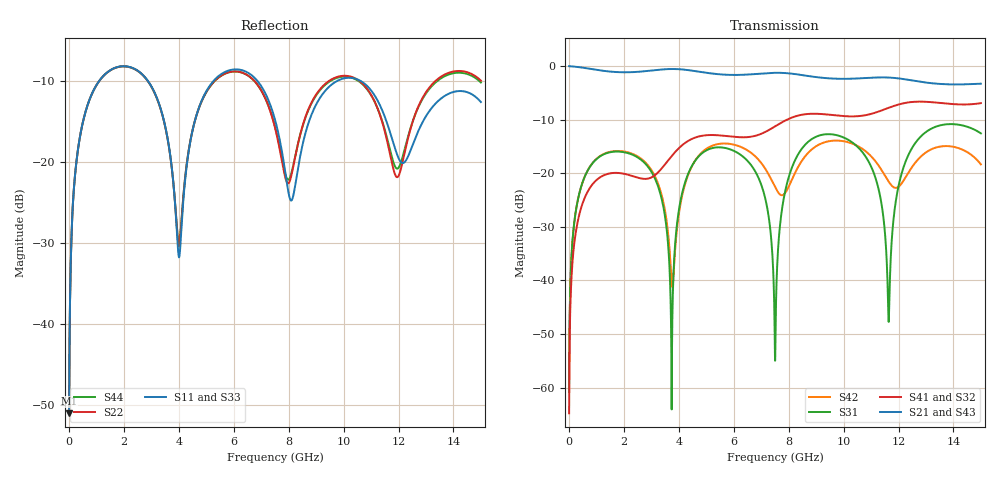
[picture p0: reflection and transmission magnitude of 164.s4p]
! Created with skrf 1.8.0 (http://scikit-rf.org).
# GHz S RI R 50.0
!freq ReS11 ImS11 ReS12 ImS12 ReS13 ImS13
! ReS14 ImS14
! ReS21 ImS21 ReS22 ImS22 ReS23 ImS23
! ReS24 ImS24
! ReS31 ImS31 ReS32 ImS32 ReS33 ImS33
! ReS34 ImS34
! ReS41 ImS41 ReS42 ImS42 ReS43 ImS43
! ReS44 ImS44
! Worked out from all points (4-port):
!   2499 points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, 5 MHz to 15 GHz, reference 50 ohm
!   strongest paths, dB at 5 MHz, 3.476 GHz, 7.19 GHz, 11.1 GHz, 15 GHz:
!     S21: 0.0, -0.6, -1.3, -2.2, -3.3
!     S43: 0.0, -0.6, -1.3, -2.2, -3.3
!     S41: -64.8, -18.5, -12.2, -8.8, -6.9
!     S32: -64.8, -18.5, -12.2, -8.8, -7.0
!     S31: -60.8, -27.4, -25.7, -19.9, -12.6
!     S42: -60.8, -26.4, -19.5, -17.4, -18.4
!   lowest |S11| = -51.1 dB at 5 MHz (marker M1), VSWR 1.01, Z = 50.2 + j0.17 ohm
!   |S11| at or under -10 dB: 2.88 GHz to 5.259 GHz (2.379 GHz wide, 58.5 % of centre); 6.867 GHz to 9.754 GHz (2.886 GHz wide, 34.7 % of centre); 10.63 GHz to end of sweep (the widest 3 of 4)
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0.005  0.00223 0.00169  0.9977 -0.00434  0.000115 0.000902  -0.000111 -0.000564
       0.9977 -0.00434  0.00223 0.00169  -0.000111 -0.000564  0.000115 0.000902
       0.000115 0.000902  -0.000111 -0.000564  0.00223 0.00169  0.9977 -0.00434
       -0.000111 -0.000564  0.000115 0.000902  0.9977 -0.00434  0.00223 0.00169
1.219258  0.2919 0.1664  0.5012 -0.7537  0.1361 0.0585  -0.0943 0.00209
          0.5012 -0.7537  0.2908 0.1672  -0.0942 0.00185  0.1393 0.0535
          0.1361 0.0585  -0.0942 0.00185  0.292 0.1663  0.5012 -0.7537
          -0.0943 0.00209  0.1393 0.0535  0.5012 -0.7537  0.2907 0.1674
3.964152  0.0257 -0.0149  -0.9303 -0.1031  0.00579 0.0383  -0.0123 0.1672
          -0.9303 -0.1031  0.0302 -0.013  -0.0158 0.1669  -0.000535 0.0355
          0.00579 0.0383  -0.0158 0.1669  0.0249 -0.015  -0.9303 -0.1031
          -0.0123 0.1672  -0.000535 0.0355  -0.9303 -0.1031  0.0311 -0.0131
7.509379  0.1177 -0.1374  0.7139 0.489  0.00157 0.00084  0.1433 -0.2336
          0.7139 0.489  0.1194 -0.1083  0.153 -0.2271  -0.0569 -0.0473
          0.00157 0.00084  0.153 -0.2271  0.1161 -0.1401  0.7137 0.4888
          0.1433 -0.2336  -0.0569 -0.0473  0.7137 0.4888  0.1233 -0.1073
7.984577  0.0577 -0.032  0.8374 0.1777  0.0258 0.0849  0.0532 -0.3154
          0.8374 0.1777  0.0737 -0.000268  0.0661 -0.3131  -0.0435 0.0591
          0.0258 0.0849  0.0661 -0.3131  0.0554 -0.0328  0.8373 0.1777
          0.0532 -0.3154  -0.0435 0.0591  0.8373 0.1777  0.0778 -0.00208
11.64235  0.1314 -0.0954  -0.6369 -0.4527  -0.00407 0.000468  -0.2161 0.3459
          -0.6369 -0.4527  0.1011 -0.0689  -0.2382 0.3312  -0.0739 -0.0388
          -0.00407 0.000468  -0.2382 0.3312  0.126 -0.1005  -0.6373 -0.4519
          -0.2161 0.3459  -0.0739 -0.0388  -0.6373 -0.4519  0.1102 -0.0655
15  0.2237 -0.0715  0.1957 0.6562  0.0334 -0.2331  0.4082 -0.1915
    0.1957 0.6562  0.2822 -0.1474  0.4199 -0.1545  0.041 -0.1137
    0.0334 -0.2331  0.4199 -0.1545  0.2186 -0.0864  0.1992 0.6566
    0.4082 -0.1915  0.041 -0.1137  0.1992 0.6566  0.2775 -0.1387
